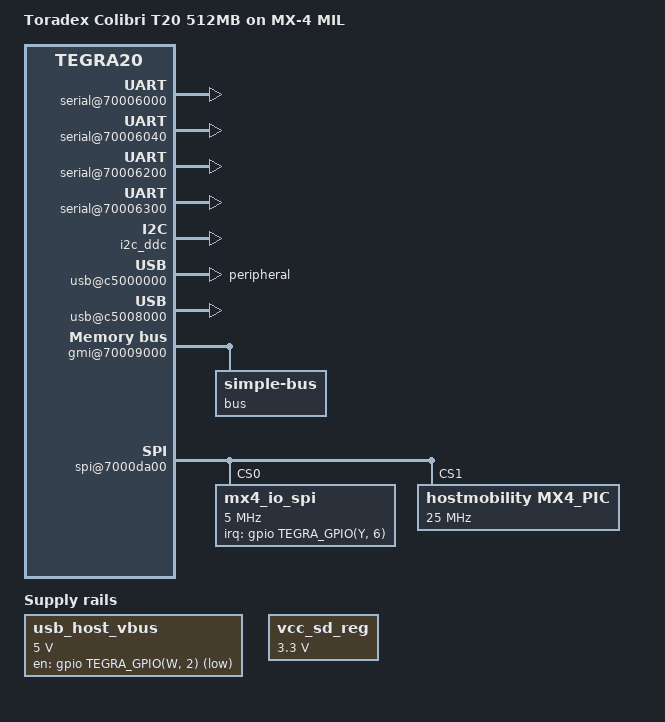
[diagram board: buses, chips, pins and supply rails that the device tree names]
/dts-v1/;

#include "tegra20-colibri-512.dtsi"

/ {
	model = "Toradex Colibri T20 512MB on MX-4 MIL";
	compatible = "hostmobility,mx4-mil", "toradex,colibri_t20-512", "nvidia,tegra20";

	aliases {
		serial0 = &uarta;
		serial1 = &uartb;
		serial2 = &uartc;
		serial3 = &uartd;
	};

	pinmux@70000014 {
		state_default: pinmux {
			hdint {
				nvidia,tristate = <TEGRA_PIN_DISABLE>;
			};

			i2cddc {
				nvidia,tristate = <TEGRA_PIN_DISABLE>;
			};

			sdio4 {
				nvidia,tristate = <TEGRA_PIN_DISABLE>;
			};

			uarta {
				nvidia,tristate = <TEGRA_PIN_DISABLE>;
			};

			uartb {
				nvidia,tristate = <TEGRA_PIN_DISABLE>;
			};

			uartc {
				nvidia,tristate = <TEGRA_PIN_DISABLE>;
			};

			uartd {
				nvidia,tristate = <TEGRA_PIN_DISABLE>;
			};

			spi4 {
				nvidia,pull = <TEGRA_PIN_PULL_UP>;
				nvidia,tristate = <TEGRA_PIN_DISABLE>;
			};

			gpio_gmi {
				nvidia,pins = "ata", "atc", "atd", "ate",
					"dap1", "dap2", "dap4", "gpu", "spia",
					"spib", "spic", "ucb";
			};
		};
	};

	serial@70006000 {
		status = "okay";
	};

	serial@70006040 {
		status = "okay";
	};

	serial@70006200 {
		status = "okay";
	};

	serial@70006300 {
		status = "okay";
	};

	i2c_ddc: i2c@7000c400 {
		status = "okay";
	};

	usb@c5000000 {
		compatible = "nvidia,tegra20-udc";
		status = "okay";
		dr_mode = "peripheral";
	};

	usb-phy@c5000000 {
		status = "okay";
	};

	usb@c5008000 {
		status = "okay";
	};

	usb-phy@c5008000 {
		status = "okay";
	};

	gmi@70009000 {
		ranges = <4 0 0xd0000000 0xfffffff>;
		status = "okay";

		bus@4,0 {
			compatible = "simple-bus";
			#address-cells = <1>;
			#size-cells = <1>;
			ranges = <0 4 0 0x80100>;

			nvidia,snor-mux-mode;
			nvidia,snor-adv-active-high;

			can@0 {
				compatible = "nxp,sja1000";
				reg = <0 0x100>;
				interrupt-parent = <&gpio>;
				interrupts = <TEGRA_GPIO(B, 5) IRQ_TYPE_EDGE_RISING>;
				nxp,external-clock-frequency = <24000000>;
				nxp,tx-output-config = <0x16>;
				nxp,clock-out-frequency = <24000000>;
				reg-io-width = <2>;
			};

			can@40000 {
				compatible = "nxp,sja1000";
				reg = <0x40000 0x100>;
				interrupt-parent = <&gpio>;
				interrupts = <TEGRA_GPIO(A, 6) IRQ_TYPE_EDGE_RISING>;
				nxp,external-clock-frequency = <24000000>;
				nxp,tx-output-config = <0x16>;
				reg-io-width = <2>;
			};

			can@80000 {
				compatible = "nxp,sja1000";
				reg = <0x80000 0x100>;
				interrupt-parent = <&gpio>;
				interrupts = <TEGRA_GPIO(N, 0) IRQ_TYPE_EDGE_RISING>;
				nxp,external-clock-frequency = <24000000>;
				nxp,tx-output-config = <0x16>;
				reg-io-width = <2>;
			};
		};
	};

	/* SPI4: Colibri SSP */
	spi@7000da00 {
		status = "okay";
		spi-max-frequency = <25000000>;

		mx4_io_spi: spi@0 {
			compatible = "mx4_io_spi";
			reg = <0>;
			spi-max-frequency = <5000000>;
			interrupt-parent = <&gpio>;
			interrupts = <TEGRA_GPIO(Y, 6) GPIO_ACTIVE_HIGH>;
			spi-cpha;
		};

		mx4_pic: spi@1 {
			compatible = "hostmobility,mx4_pic";
			reg = <1>;
			spi-max-frequency = <25000000>;
		};
	};

	regulators {
		regulator@0 {
			compatible = "regulator-fixed";
			reg = <0>;
			regulator-name = "usb_host_vbus";
			regulator-min-microvolt = <5000000>;
			regulator-max-microvolt = <5000000>;
			regulator-boot-on;
			regulator-always-on;
			gpio = <&gpio TEGRA_GPIO(W, 2) GPIO_ACTIVE_HIGH>;
		};

		vcc_sd_reg: regulator@1 {
			compatible = "regulator-fixed";
			reg = <1>;
			regulator-name = "vcc_sd";
			regulator-min-microvolt = <3300000>;
			regulator-max-microvolt = <3300000>;
			regulator-boot-on;
			regulator-always-on;
		};
	};
};
